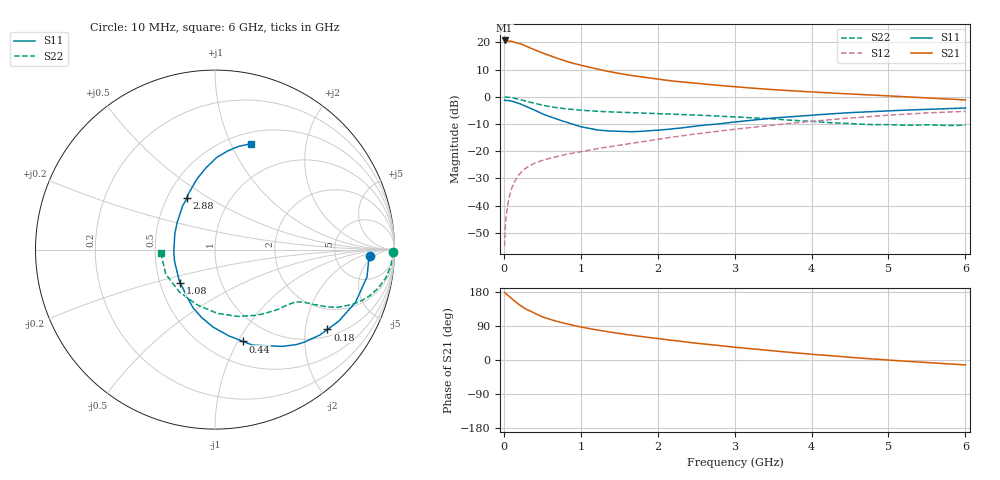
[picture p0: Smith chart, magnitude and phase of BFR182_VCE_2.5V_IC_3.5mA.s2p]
! Infineon Technologies  Discrete & RF Semiconductors
! BFR182
! VCE =  2.5 V,  IC =  3.5 mA
! Common Emitter S-Parameters:  Nov 2015
# GHz  S  MA  R  50
!  f  S11  S21  S12  S22
! GHz  MAG  ANG  MAG  ANG  MAG  ANG  MAG  ANG
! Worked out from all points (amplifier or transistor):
!   210 points, 10 MHz to 6 GHz, reference 50 ohm
!   highest |S21| = 20.7 dB at 10 MHz (marker M1)
!   |S21| within 3 dB of that: start of sweep to 364.5 MHz
!   unconditionally stable (mu >= 1): 1.209 GHz to 2.945 GHz
!   at 185 MHz: K = 0.26, MSG = 24.4 dB, |S12| = -29.1 dB
!   at 1.52 GHz: K = 1.06, MAG = 11.6 dB, |S12| = -17.7 dB
!   at 6 GHz: K = 0.89, MSG = 2.1 dB, |S12| = -5.3 dB
!   S11 on the Smith chart (normalised r, x): 10 MHz: 13, -4; 180 MHz: 1.21, -2.64; 440 MHz: 0.73, -1.05; 1.08 GHz: 0.64, -0.26; 2.88 GHz: 0.63, +0.41; 6 GHz: 0.62, +1.19
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0.01  0.8664 -2.3  10.87 178.3  0.0018 88.2  0.9938 -0.9
0.02  0.8585 -4.1  10.61 176.2  0.0042 86.1  0.9879 -1.9
0.04  0.8587 -8.2  10.64 172.8  0.0083 85.0  0.9862 -3.8
0.1  0.8362 -20.5  10.53 162.6  0.0204 79.3  0.9661 -9.2
0.15  0.7968 -30.0  9.965 153.6  0.0294 73.7  0.935 -13.2
0.18  0.7683 -35.4  9.728 149.2  0.0342 71.5  0.9133 -15.2
0.2  0.7533 -39.2  9.603 146.1  0.0375 70.3  0.8994 -16.6
0.26  0.6976 -49.3  8.922 137.8  0.0459 65.8  0.8521 -20.0
0.3  0.6575 -55.1  8.386 133.1  0.0503 64.0  0.823 -21.8
0.44  0.5356 -72.9  6.955 119.8  0.0633 58.5  0.7367 -25.8
0.5  0.4879 -80.7  6.414 113.9  0.0676 57.2  0.7027 -27.0
0.7  0.3853 -101.2  5.072 101.3  0.0806 55.5  0.628 -29.1
0.88  0.3191 -117.1  4.215 92.2  0.0915 55.4  0.5892 -30.2
1.02  0.2787 -130.3  3.754 86.3  0.0991 56.1  0.5657 -31.1
1.08  0.2687 -136.1  3.585 84.1  0.1029 56.5  0.5578 -31.5
1.6  0.2295 -177.9  2.54 67.0  0.1361 58.4  0.5156 -36.0
2.02  0.2447 154.2  2.1 55.9  0.1677 58.9  0.4916 -41.2
2.88  0.3284 118.5  1.584 36.4  0.2425 55.9  0.4374 -55.9
3.1  0.3558 112.8  1.493 31.9  0.2632 54.3  0.4207 -60.9
4.1  0.4706 94.4  1.208 13.6  0.3653 45.3  0.3455 -91.8
5.1  0.5611 81.5  1.023 -1.6  0.4682 32.9  0.3039 -134.6
6  0.623 71.3  0.878 -13.0  0.5409 19.5  0.3023 -175.9
